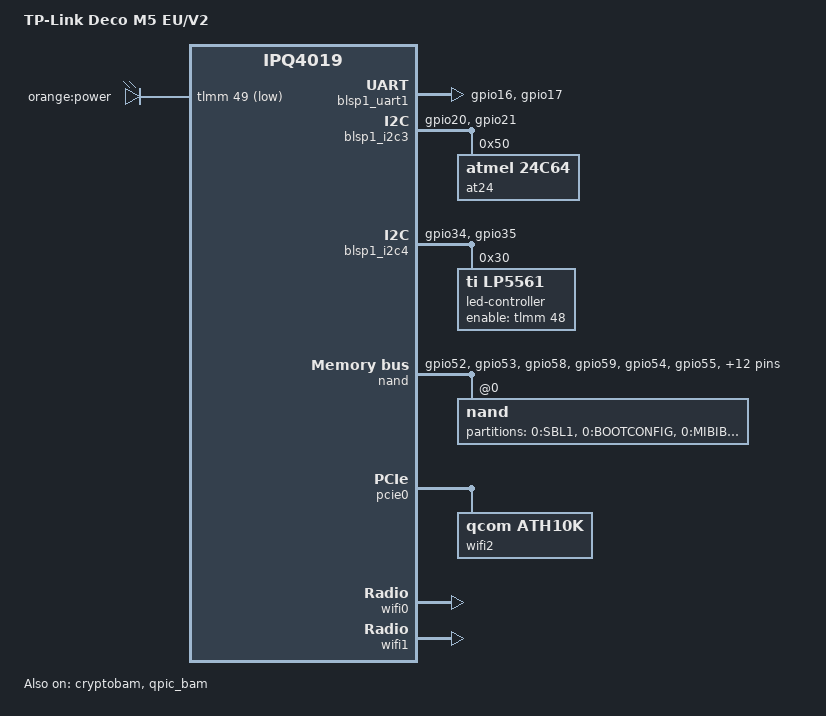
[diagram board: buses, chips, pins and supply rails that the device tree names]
// SPDX-License-Identifier: GPL-2.0-only
/*
 * Device Tree Source for Meraki MR33 (Stinkbug)
 *
 * Copyright (C) 2017 Chris Blake <chrisrblake93@gmail.com>
 * Copyright (C) 2017 Christian Lamparter <chunkeey@googlemail.com>
 *
 * Based on Cisco Meraki DTS from GPL release r25-linux-3.14-20170427
 *
 * This file is licensed under the terms of the GNU General Public
 * License version 2.  This program is licensed "as is" without
 * any warranty of any kind, whether express or implied.
 */

#include "qcom-ipq4019.dtsi"
#include <dt-bindings/gpio/gpio.h>
#include <dt-bindings/input/input.h>
#include <dt-bindings/soc/qcom,tcsr.h>

/ {
	model = "TP-Link Deco M5 EU/V2";
	compatible = "tplink,deco-m5-euv2";

	aliases {
		led-boot = &status_green;
		led-failsafe = &status_red;
		led-running = &status_green;
		led-upgrade = &power_orange;
	};

	leds {
		compatible = "gpio-leds";

		power_orange: power {
			label = "orange:power";
			gpios = <&tlmm 49 GPIO_ACTIVE_LOW>;
			panic-indicator;
		};
	};
};

&blsp_dma {
	status = "okay";
};

&blsp1_uart1 {
	pinctrl-0 = <&serial_0_pins>;
	pinctrl-names = "default";
	status = "okay";
};

&cryptobam {
	status = "okay";
};

&gmac0 {
	qcom,phy_mdio_addr = <1>;
	qcom,poll_required = <1>;
	vlan_tag = <0 0x20>;
};

&blsp1_i2c3 {
	pinctrl-0 = <&i2c_0_pins>;
	pinctrl-names = "default";
	status = "okay";
	at24@50 {
		compatible = "atmel,24c64";
		pagesize = <32>;
		reg = <0x50>;
		read-only; /* This holds our MAC & Meraki board-data */
	};
};

&blsp1_i2c4 {
	pinctrl-0 = <&i2c_1_pins>;
	pinctrl-names = "default";
	status = "okay";

	led-controller@30 {
		compatible = "ti,lp5561";
		reg = <0x30>;
		clock-mode = /bits/8 <2>;
		enable-gpio = <&tlmm 48 GPIO_ACTIVE_HIGH>;

		/* RGB led */
		status_red: chan0 {
			chan-name = "red:status";
			led-cur = /bits/ 8 <0x20>;
			max-cur = /bits/ 8 <0x60>;
		};

		status_green: chan1 {
			chan-name = "green:status";
			led-cur = /bits/ 8 <0x20>;
			max-cur = /bits/ 8 <0x60>;
		};

		chan2 {
			chan-name = "blue:status";
			led-cur = /bits/ 8 <0x20>;
			max-cur = /bits/ 8 <0x60>;
		};

		chan3 {
			chan-name = "white:status";
			led-cur = /bits/ 8 <0x20>;
			max-cur = /bits/ 8 <0x60>;
		};
	};
};



&nand {
	pinctrl-0 = <&nand_pins>;
	pinctrl-names = "default";
	status = "okay";

	nand@0 {
		partitions {
			compatible = "fixed-partitions";
			#address-cells = <1>;
			#size-cells = <1>;

			partition@0 {
				label = "0:SBL1";
				reg = <0x0 0x30000>;
				read-only;
			};

			partition@30000 {
				label = "0:BOOTCONFIG";
				reg = <0x30000 0x10000>;
				read-only;
			};

			partition@40000 {
				label = "0:MIBIB";
				reg = <0x40000 0x10000>;
				read-only;
			};

			partition@50000 {
				label = "0:BOOTCONFIG1";
				reg = <0x50000 0x10000>;
				read-only;
			};

			partition@60000 {
				label = "0:QSEE";
				reg = <0x60000 0x60000>;
				read-only;
			};

			partition@c0000 {
				label = "0:CDT";
				reg = <0xc0000 0x10000>;
				read-only;
			};

			partition@d0000 {
				label = "0:DDRPARAMS";
				reg = <0xd0000 0x10000>;
				read-only;
			};

			partition@e0000 {
				label = "0:APPSBLENV";
				reg = <0xe0000 0x10000>;
				read-only;
			};

			partition@f0000 {
				label = "0:APPSBL";
				reg = <0xf0000 0x80000>;
				read-only;
			};

			partition@170000 {
				label = "0:ART";
				reg = <0x170000 0x10000>;
				read-only;
			};

			partition@180000 {
				label = "OPAQUE";
				reg = <0x180000 0x60000>;
			};

			partition@240000 {
				label = "0:HLOS";
				reg = <0x240000 0x300000>;
			};

			partition@540000 {
				label = "0:rootfs";
				reg = <0x540000 0x7d0000>;
			};

			partition@d10000 {
				label = "0:APPSBL_1";
				reg = <0xd10000 0x80000>;
			};

			partition@d90000 {
				label = "1:HLOS";
				reg = <0xd90000 0x30000>;
			};
			
			partition@d110000 {
				label = "1:rootfs";
				reg = <0xd110000 0x7d0000>;
			};
		};
	};
};

&pcie0 {
	status = "okay";
	perst-gpio = <&tlmm 38 GPIO_ACTIVE_LOW>;
	wake-gpio = <&tlmm 50 GPIO_ACTIVE_LOW>;

	bridge@0,0 {
		reg = <0x00000000 0 0 0 0>;
		#address-cells = <3>;
		#size-cells = <2>;
		ranges;

		wifi2: wifi@1,0 {
			compatible = "qcom,ath10k";
			status = "okay";
			reg = <0x00010000 0 0 0 0>;
		};
	};
};

&qpic_bam {
	status = "okay";
};

&tlmm {
	/*
	 * GPIO43 should be 0/1 whenever the unit is
	 * powered through PoE or AC-Adapter.
	 * That said, playing with this seems to
	 * reset the AP.
	 */

	mdio_pins: mdio_pinmux {
		mux_1 {
			pins = "gpio6";
			function = "mdio";
			bias-pull-up;
		};
		mux_2 {
			pins = "gpio7";
			function = "mdc";
			bias-pull-up;
		};
	};

	serial_0_pins: serial_pinmux {
		mux {
			pins = "gpio16", "gpio17";
			function = "blsp_uart0";
			bias-disable;
		};
	};

	serial_1_pins: serial1_pinmux {
		mux {
			/* We use the i2c-0 pins for serial_1 */
			pins = "gpio8", "gpio9";
			function = "blsp_uart1";
			bias-disable;
		};
	};

	i2c_0_pins: i2c_0_pinmux {
		pinmux {
			function = "blsp_i2c0";
			pins = "gpio20", "gpio21";
		};
		pinconf {
			pins = "gpio20", "gpio21";
			drive-strength = <16>;
			bias-disable;
		};
	};

	i2c_1_pins: i2c_1_pinmux {
		pinmux {
			function = "blsp_i2c1";
			pins = "gpio34", "gpio35";
		};
		pinconf {
			pins = "gpio34", "gpio35";
			drive-strength = <16>;
			bias-disable;
		};
	};

	nand_pins: nand_pins {
		/*
		 * There are 18 pins. 15 pins are common between LCD and NAND.
		 * The QPIC controller arbitrates between LCD and NAND. Of the
		 * remaining 4, 2 are for NAND and 2 are for LCD exclusively.
		 *
		 * The meraki source hints that the bluetooth module claims
		 * pin 52 as well. But sadly, there's no data whenever this
		 * is a NAND or LCD exclusive pin or not.
		 */

		pullups {
			pins = "gpio52", "gpio53", "gpio58",
				"gpio59";
			function = "qpic";
			bias-pull-up;
		};

		pulldowns {
			pins = "gpio54", "gpio55", "gpio56",
				"gpio57", "gpio60", "gpio61",
				"gpio62", "gpio63", "gpio64",
				"gpio65", "gpio66", "gpio67",
				"gpio68", "gpio69";
			function = "qpic";
			bias-pull-down;
		};
	};
};

&wifi0 {
	status = "okay";
	qcom,ath10k-calibration-variant = "tplink_deco-m5-euv2";
};

&wifi1 {
	status = "okay";
	qcom,ath10k-calibration-variant = "tplink_deco-m5-euv2";
};
